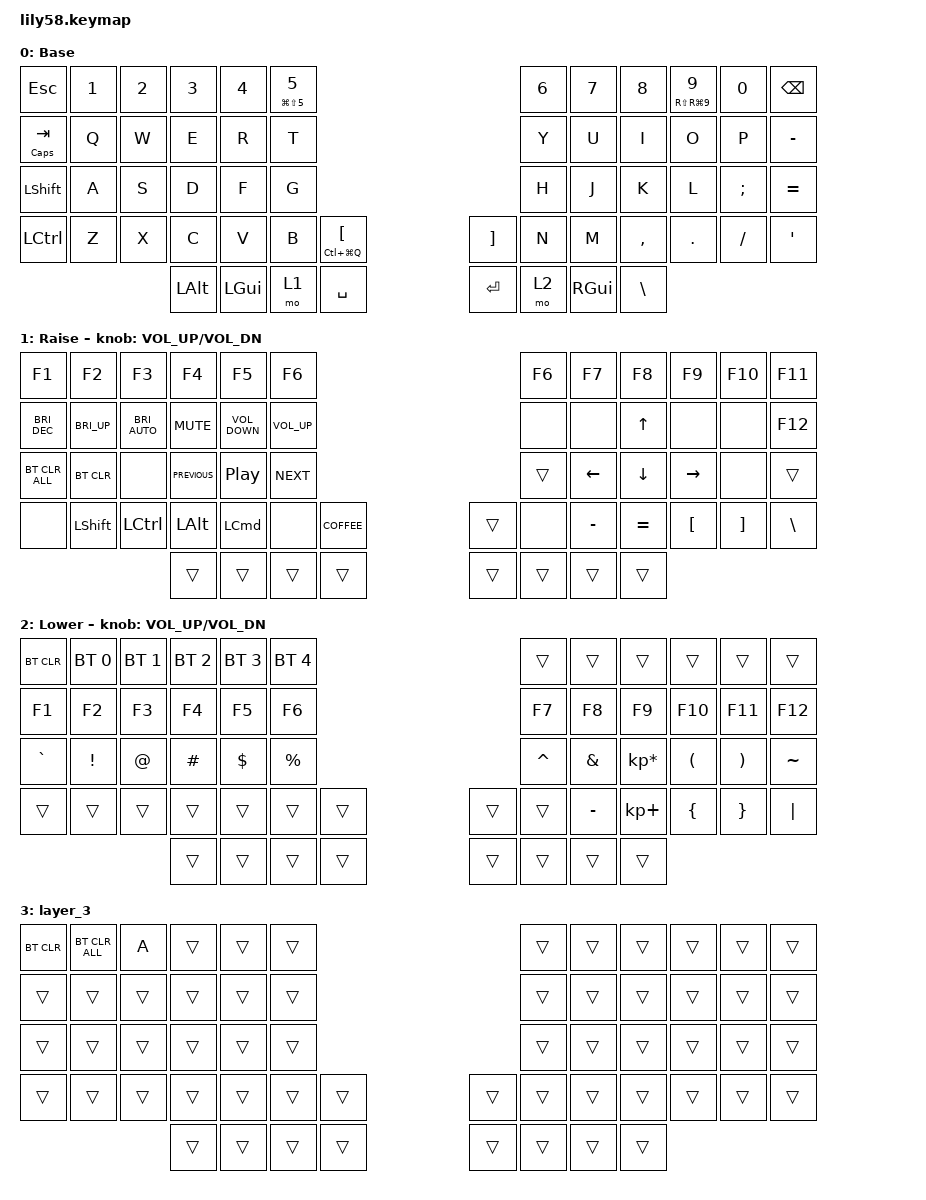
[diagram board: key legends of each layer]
/*
 * Copyright (c) 2020 The ZMK Contributors
 *
 * SPDX-License-Identifier: MIT
 */

#include <behaviors.dtsi>
#include <dt-bindings/zmk/bt.h>
#include <dt-bindings/zmk/keys.h>

/ {
    combos {
        compatible = "zmk,combos";

        Caps_Lock {
            bindings = <&kp A>;
            key-positions = <24 12>;
        };
    };

    keymap {
        compatible = "zmk,keymap";

        default_layer {
            // ------------------------------------------------------------------------------------------------------------
            // |  ESC  |  1  |  2  |  3   |  4   |  5   |                   |  6   |  7    |  8    |  9   |   0   |   `   |
            // |  TAB  |  Q  |  W  |  E   |  R   |  T   |                   |  Y   |  U    |  I    |  O   |   P   |   -   |
            // |  CTRL |  A  |  S  |  D   |  F   |  G   |                   |  H   |  J    |  K    |  L   |   ;   |   '   |
            // | SHIFT |  Z  |  X  |  C   |  V   |  B   |   "["  |  |  "]"  |  N   |  M    |  ,    |  .   |   /   | SHIFT |
            //                     | ALT  | GUI  | LOWER|  SPACE |  | ENTER | RAISE| BSPC  | GUI   |

            display-name = "Base";
            bindings = <
&kp ESC           &kp N1  &kp N2  &kp N3    &kp N4    &mt LG(LS(N5)) N5                                          &kp N6  &kp N7    &kp N8         &mt RS(RG(N9)) N9  &kp N0    &kp BACKSPACE
&mt CAPSLOCK TAB  &kp Q   &kp W   &kp E     &kp R     &kp T                                                      &kp Y   &kp U     &kp I          &kp O              &kp P     &kp MINUS
&kp LSHIFT        &kp A   &kp S   &kp D     &kp F     &kp G                                                      &kp H   &kp J     &kp K          &kp L              &kp SEMI  &kp EQUAL
&kp LEFT_CONTROL  &kp Z   &kp X   &kp C     &kp V     &kp B              &mt LC(LG(Q)) LEFT_BRACKET    &kp RBKT  &kp N   &kp M     &kp COMMA      &kp DOT            &kp FSLH  &kp SQT
                                  &kp LALT  &kp LGUI  &mo 1              &kp SPACE                     &kp RET   &mo 2   &kp RGUI  &kp BACKSLASH
            >;
        };

        raise_layer {
            // ------------------------------------------------------------------------------------------------------------
            // |       |     |     |      |      |      |                   |      |       |       |      |       |       |
            // |   `   |  1  |  2  |  3   |  4   |  5   |                   |  6   |   7   |   8   |  9   |   0   |       |
            // |   F1  |  F2 |  F3 |  F4  |  F5  |  F6  |                   |      |   <-  |   v   |  ^   |  ->   |       |
            // |   F7  |  F8 |  F9 |  F10 |  F11 |  F12 |        |  |       |  +   |   -   |   =   |  [   |   ]   |   \   |
            //                     |      |      |      |        |  |       |      |       |       |

            display-name = "Raise";
            bindings = <
&kp F1                &kp F2          &kp F3            &kp F4          &kp F5             &kp F6                                &kp F6  &kp F7     &kp F8     &kp F9           &kp F10   &kp F11
&kp C_BRIGHTNESS_DEC  &kp C_BRI_UP    &kp C_BRI_AUTO    &kp K_MUTE      &kp C_VOLUME_DOWN  &kp C_VOL_UP                          &none   &none      &kp UP     &none            &none     &kp F12
&bt BT_CLR_ALL        &bt BT_CLR      &none             &kp C_PREVIOUS  &kp C_PLAY_PAUSE   &kp C_NEXT                            &trans  &kp LEFT   &kp DOWN   &kp RIGHT_ARROW  &none     &trans
&none                 &kp LEFT_SHIFT  &kp LEFT_CONTROL  &kp LEFT_ALT    &kp LEFT_COMMAND   &none         &kp K_COFFEE    &trans  &none   &kp MINUS  &kp EQUAL  &kp LBKT         &kp RBKT  &kp BSLH
                                                        &trans          &trans             &trans        &trans          &trans  &trans  &trans     &trans
            >;

            sensor-bindings = <&inc_dec_kp C_VOL_UP C_VOL_DN>;
        };

        lower_layer {
            // ------------------------------------------------------------------------------------------------------------
            // | BTCLR | BT1 | BT2 |  BT3 |  BT4 |  BT5 |                   |      |       |       |      |       |       |
            // |  F1   |  F2 |  F3 |  F4  |  F5  |  F6  |                   |  F7  |  F8   |  F9   |  F10 |  F11  |  F12  |
            // |   `   |  !  |  @  |  #   |  $   |  %   |                   |  ^   |  &    |  *    |  (   |   )   |   ~   |
            // |       |     |     |      |      |      |        |  |       |      |  _    |  +    |  {   |   }   |  "|"  |
            //                     |      |      |      |        |  |       |      |       |       |

            display-name = "Lower";
            bindings = <
&bt BT_CLR  &bt BT_SEL 0  &bt BT_SEL 1  &bt BT_SEL 2  &bt BT_SEL 3  &bt BT_SEL 4                    &trans     &trans     &trans           &trans    &trans    &trans
&kp F1      &kp F2        &kp F3        &kp F4        &kp F5        &kp F6                          &kp F7     &kp F8     &kp F9           &kp F10   &kp F11   &kp F12
&kp GRAVE   &kp EXCL      &kp AT        &kp HASH      &kp DOLLAR    &kp PRCNT                       &kp CARET  &kp AMPS   &kp KP_MULTIPLY  &kp LPAR  &kp RPAR  &kp TILDE
&trans      &trans        &trans        &trans        &trans        &trans        &trans    &trans  &trans     &kp MINUS  &kp KP_PLUS      &kp LBRC  &kp RBRC  &kp PIPE
                                        &trans        &trans        &trans        &trans    &trans  &trans     &trans     &trans
            >;

            sensor-bindings = <&inc_dec_kp C_VOL_UP C_VOL_DN>;
        };

        layer_3 {
            bindings = <
&bt BT_CLR  &bt BT_CLR_ALL  &kp A   &trans  &trans  &trans                    &trans  &trans  &trans  &trans  &trans  &trans
&trans      &trans          &trans  &trans  &trans  &trans                    &trans  &trans  &trans  &trans  &trans  &trans
&trans      &trans          &trans  &trans  &trans  &trans                    &trans  &trans  &trans  &trans  &trans  &trans
&trans      &trans          &trans  &trans  &trans  &trans  &trans    &trans  &trans  &trans  &trans  &trans  &trans  &trans
                                    &trans  &trans  &trans  &trans    &trans  &trans  &trans  &trans
            >;
        };
    };
};
